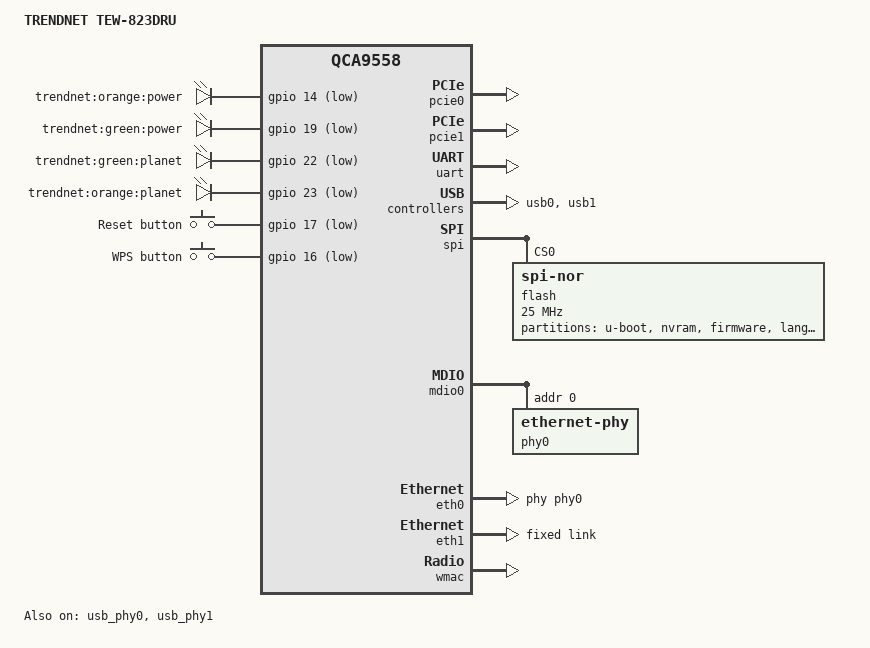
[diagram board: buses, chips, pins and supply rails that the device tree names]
// SPDX-License-Identifier: GPL-2.0-or-later OR MIT
/dts-v1/;

#include <dt-bindings/gpio/gpio.h>
#include <dt-bindings/input/input.h>

#include "qca955x.dtsi"

/ {
	compatible = "trendnet,tew-823dru", "qca,qca9558";
	model = "TRENDNET TEW-823DRU";

	aliases {
		led-boot = &led_power_green;
		led-failsafe = &led_power_green;
		led-running = &led_power_green;
		led-upgrade = &led_power_green;
	};

	leds {
		compatible = "gpio-leds";

		power_orange {
			label = "trendnet:orange:power";
			gpios = <&gpio 14 GPIO_ACTIVE_LOW>;
		};

		led_power_green: power_green {
			label = "trendnet:green:power";
			gpios = <&gpio 19 GPIO_ACTIVE_LOW>;
		};

		planet_green {
			label = "trendnet:green:planet";
			gpios = <&gpio 22 GPIO_ACTIVE_LOW>;
		};

		planet_orange {
			label = "trendnet:orange:planet";
			gpios = <&gpio 23 GPIO_ACTIVE_LOW>;
		};
	};

	keys {
		compatible = "gpio-keys";

		reset {
			label = "Reset button";
			linux,code = <KEY_RESTART>;
			gpios = <&gpio 17 GPIO_ACTIVE_LOW>;
			debounce-interval = <60>;
		};

		wps {
			label = "WPS button";
			linux,code = <KEY_WPS_BUTTON>;
			gpios = <&gpio 16 GPIO_ACTIVE_LOW>;
			debounce-interval = <60>;
		};
	};
};

&pcie0 {
	status = "okay";
};

&pcie1 {
	status = "okay";
};

&uart {
	status = "okay";
};

&gpio {
	status = "okay";
};

&usb_phy0 {
	status = "okay";
};

&usb0 {
	#address-cells = <1>;
	#size-cells = <0>;
	status = "okay";

	hub_port0: port@1 {
		reg = <1>;
		#trigger-source-cells = <0>;
	};
};

&usb_phy1 {
	status = "okay";
};

&usb1 {
	#address-cells = <1>;
	#size-cells = <0>;
	status = "okay";

	hub_port1: port@1 {
		reg = <1>;
		#trigger-source-cells = <0>;
	};
};

&spi {
	status = "okay";

	num-cs = <1>;

	flash@0 {
		compatible = "jedec,spi-nor";
		reg = <0>;
		spi-max-frequency = <25000000>;

		partitions {
			compatible = "fixed-partitions";
			#address-cells = <1>;
			#size-cells = <1>;

			partition@0 {
				label = "u-boot";
				reg = <0x000000 0x030000>;
				read-only;
			};

			partition@30000 {
				label = "nvram";
				reg = <0x030000 0x010000>;
				read-only;
			};

			partition@40000 {
				compatible = "denx,uimage";
				label = "firmware";
				reg = <0x040000 0xef0000>;
			};

			partition@f30000 {
				label = "lang";
				reg = <0xf30000 0x030000>;
				read-only;
			};

			partition@f60000 {
				label = "my-dlink";
				reg = <0xf60000 0x080000>;
				read-only;
			};

			partition@fe0000 {
				label = "mac";
				reg = <0xfe0000 0x010000>;
				read-only;
			};

			art: partition@ff0000 {
				label = "art";
				reg = <0xff0000 0x010000>;
				read-only;
			};
		};
	};
};

&mdio0 {
	status = "okay";

	phy0: ethernet-phy@0 {
		reg = <0>;
		qca,ar8327-initvals = <
			0x04 0x00080080 /* PORT0 PAD MODE CTRL */
			0x0c 0x07600000 /* PORT6 PAD MODE CTRL */
			0x10 0x81000080 /* POWER_ON_STRIP */
			0x7c 0x0000007e /* PORT0_STATUS */
			0x94 0x0000007e /* PORT6 STATUS */
		>;
	};
};

&eth0 {
	status = "okay";

	phy-handle = <&phy0>;
	pll-data = <0x56000000 0x00000101 0x00001616>;

	gmac-config {
		device = <&gmac>;
		rgmii-enabled = <1>;
	};
};

&eth1 {
	status = "okay";

	pll-data = <0x03000101 0x00000101 0x00001616>;

	fixed-link {
		speed = <1000>;
		full-duplex;
	};
};

&wmac {
	status = "okay";

	mtd-cal-data = <&art 0x1000>;
};
